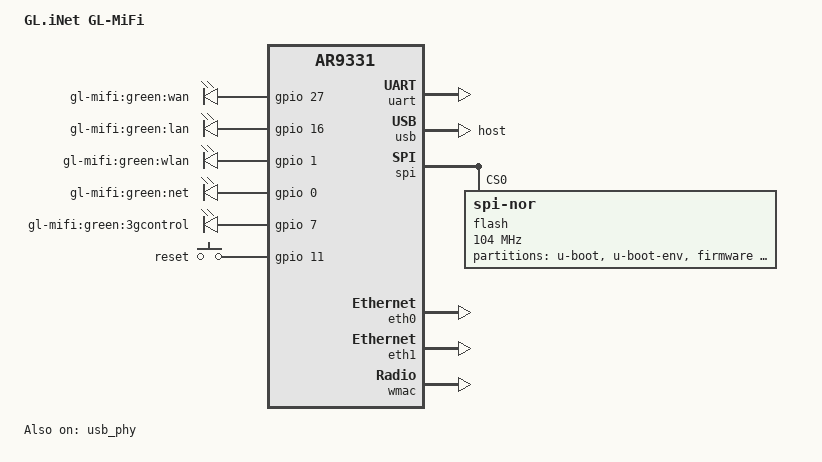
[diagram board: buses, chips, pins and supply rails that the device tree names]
// SPDX-License-Identifier: GPL-2.0
/dts-v1/;

#include <dt-bindings/gpio/gpio.h>
#include <dt-bindings/input/input.h>

#include "ar9331.dtsi"

/ {
	model = "GL.iNet GL-MiFi";
	compatible = "glinet,gl-mifi", "qca,ar9331";

	aliases {
		serial0 = &uart;
		led-boot = &led_net;
		led-failsafe = &led_net;
		led-running = &led_net;
		led-upgrade = &led_net;
	};

	leds {
		compatible = "gpio-leds";

		wan {
			label = "gl-mifi:green:wan";
			gpios = <&gpio 27 GPIO_ACTIVE_HIGH>;
			default-state = "off";
		};

		lan {
			label = "gl-mifi:green:lan";
			gpios = <&gpio 16 GPIO_ACTIVE_HIGH>;
			default-state = "off";
		};

		wlan {
			label = "gl-mifi:green:wlan";
			gpios = <&gpio 1 GPIO_ACTIVE_HIGH>;
			default-state = "off";
			linux,default-trigger = "phy0tpt";
		};

		led_net: net {
			label = "gl-mifi:green:net";
			gpios = <&gpio 0 GPIO_ACTIVE_HIGH>;
			default-state = "off";
		};

        3gcontrol {
			label = "gl-mifi:green:3gcontrol";
			gpios = <&gpio 7 GPIO_ACTIVE_HIGH>;
 			default-state = "off";
		};
	};

	keys {
		compatible = "gpio-keys";

		button0 {
			label = "reset";
			linux,code = <KEY_RESTART>;
			gpios = <&gpio 11 GPIO_ACTIVE_HIGH>;
			debounce-interval = <60>;
		};
	};
};

&ref {
	clock-frequency = <25000000>;
};

&uart {
	status = "okay";
};

&gpio {
	status = "okay";
};

&usb {
	#address-cells = <1>;
	#size-cells = <0>;
	dr_mode = "host";
	status = "okay";

	hub_port: port@1 {
		reg = <1>;
		#trigger-source-cells = <0>;
	};
};

&usb_phy {
	status = "okay";
};

&spi {
	num-chipselects = <1>;
	status = "okay";

	flash@0 {
		compatible = "jedec,spi-nor";
		spi-max-frequency = <104000000>;
		reg = <0>;

		partitions {
			compatible = "fixed-partitions";
			#address-cells = <1>;
			#size-cells = <1>;

			uboot:	partition@0 {
				label = "u-boot";
				reg = <0x000000 0x040000>;
				read-only;
			};

			partition@40000 {
				label = "u-boot-env";
				reg = <0x040000 0x010000>;
				read-only;
			};

			partition@50000 {
				label = "firmware";
				reg = <0x050000 0x0fa0000>;
			};

			art: partition@ff0000 {
				label = "art";
				reg = <0xff0000 0x010000>;
				read-only;
			};
		};
	};
};


&eth0 {
	status = "okay";

	mtd-mac-address = <&art 0x0000>;
	gmac-config {
		device = <&gmac>;

		switch-phy-addr-swap = <0>;
		switch-phy-swap = <0>;
	};
};

&eth1 {
	status = "okay";

	mtd-mac-address = <&art 0x0000>;
};

&wmac {
	status = "okay";

	mtd-cal-data = <&art 0x1000>;
};
